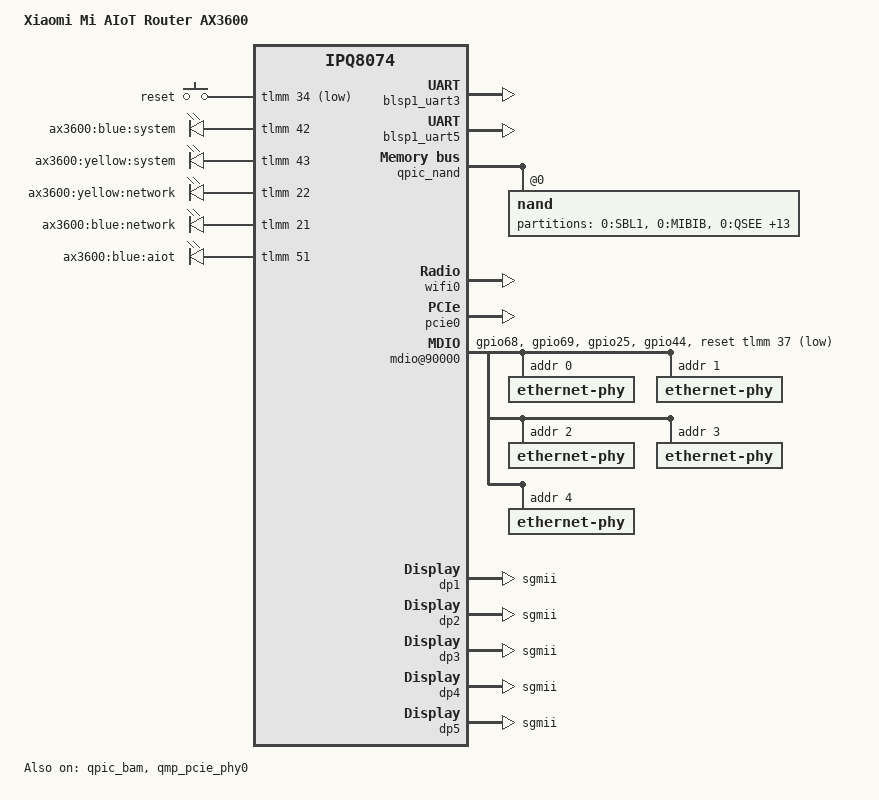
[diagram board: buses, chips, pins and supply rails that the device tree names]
// SPDX-License-Identifier: GPL-2.0-only
/dts-v1/;

#include "ipq8074.dtsi"
#include <dt-bindings/gpio/gpio.h>
#include <dt-bindings/input/input.h>

/ {
	#address-cells = <0x2>;
	#size-cells = <0x2>;
	model = "Xiaomi Mi AIoT Router AX3600";
	compatible = "xiaomi,ax3600", "qcom,ipq8074";
	interrupt-parent = <&intc>;

	aliases {
		serial0 = &blsp1_uart5;
		serial1 = &blsp1_uart3;
		led-boot = &led_system_yellow;
		led-failsafe = &led_system_yellow;
		led-running = &led_system_blue;
		led-upgrade = &led_system_yellow;
	};

	chosen {
		stdout-path = "serial0:115200n8";
		bootargs-append = " swiotlb=1 root=/dev/ubiblock0_1";
	};

	reserved-memory {
		ranges;
		#address-cells = <0x2>;
		#size-cells = <0x2>;

		tz@4ac00000 {
			reg = <0x0 0x4ac00000 0x0 0x400000>;
			no-map;
		};

		wcnss@4b000000 {
			reg = <0x0 0x4b000000 0x0 0x3700000>;
			no-map;
		};

		rsvd2@50b00000 {
			reg = <0x0 0x50b00000 0x0 0x400000>;
			no-map;
		};

		wifi_dump@50500000 {
			reg = <0x0 0x50500000 0x0 0x200000>;
			no-map;
		};

		rsvd1@50700000 {
			reg = <0x0 0x50700000 0x0 0x400000>;
			no-map;
		};

		q6_etr_dump@4e700000 {
			reg = <0x0 0x4e700000 0x0 0x100000>;
			no-map;
		};

		sbl@4aa00000 {
			reg = <0x0 0x4aa00000 0x0 0x100000>;
			no-map;
		};

		uboot@4a600000 {
			reg = <0x0 0x4a600000 0x0 0x400000>;
			no-map;
		};

		nss@40000000 {
			reg = <0x0 0x40000000 0x0 0x1000000>;
			no-map;
		};
	};

	keys {
		compatible = "gpio-keys";
		pinctrl-0 = <&button_pins>;
		pinctrl-names = "default";

		reset {
			label = "reset";
			gpios = <&tlmm 34 GPIO_ACTIVE_LOW>;
			linux,code = <KEY_RESTART>;
		};
	};

	leds {
		compatible = "gpio-leds";
		pinctrl-0 = <&led_pins>;
		pinctrl-names = "default";

		led_system_blue: system-blue {
			label = "ax3600:blue:system";
			gpios = <&tlmm 42 GPIO_ACTIVE_HIGH>;
		};

		led_system_yellow: system-yellow {
			label = "ax3600:yellow:system";
			gpios = <&tlmm 43 GPIO_ACTIVE_HIGH>;
		};

		network-yellow {
			label = "ax3600:yellow:network";
			gpios = <&tlmm 22 GPIO_ACTIVE_HIGH>;
		};

		network-blue {
			label = "ax3600:blue:network";
			gpios = <&tlmm 21 GPIO_ACTIVE_HIGH>;
		};

		aiot {
			label = "ax3600:blue:aiot";
			gpios = <&tlmm 51 GPIO_ACTIVE_HIGH>;
		};
	};
};

&blsp1_uart3 {
	status = "okay";
};

&blsp1_uart5 {
	status = "okay";
};

&qpic_bam {
	status = "okay";
};

&qpic_nand {
	status = "okay";

	nand@0 {
		reg = <0>;
		nand-ecc-strength = <4>;
		nand-ecc-step-size = <512>;
		nand-bus-width = <8>;

		partitions {
			compatible = "fixed-partitions";
			#address-cells = <1>;
			#size-cells = <1>;

			partition@0 {
				label = "0:SBL1";
				reg = <0x00000000 0x100000>;
				read-only;
			};

			partition@100000 {
				label = "0:MIBIB";
				reg = <0x00100000 0x100000>;
				read-only;
			};

			partition@200000 {
				label = "0:QSEE";
				reg = <0x00200000 0x300000>;
				read-only;
			};

			partition@500000 {
				label = "0:DEVCFG";
				reg = <0x00500000 0x80000>;
				read-only;
			};

			partition@580000 {
				label = "0:RPM";
				reg = <0x00580000 0x80000>;
				read-only;
			};

			partition@600000 {
				label = "0:CDT";
				reg = <0x00600000 0x80000>;
				read-only;
			};

			partition@680000 {
				label = "0:APPSBLENV";
				reg = <0x00680000 0x80000>;
			};

			partition@700000 {
				label = "0:APPSBL";
				reg = <0x00700000 0x100000>;
				read-only;
			};

			partition@800000 {
				label = "0:ART";
				reg = <0x00800000 0x80000>;
				read-only;
			};

			partition@880000 {
				label = "bdata";
				reg = <0x00880000 0x80000>;
				read-only;
			};

			partition@900000 {
				label = "crash";
				reg = <0x00900000 0x80000>;
				read-only;
			};

			partition@980000 {
				label = "crash_syslog";
				reg = <0x00980000 0x80000>;
				read-only;
			};

			partition@a00000 {
				label = "rootfs";
				reg = <0x00a00000 0x23c0000>;
			};

			partition@2dc0000 {
				label = "rootfs_1";
				reg = <0x02dc0000 0x23c0000>;
			};

			partition@5180000 {
				label = "overlay";
				reg = <0x05180000 0x1ec0000>;
			};

			partition@7040000 {
				label = "rsvd0";
				reg = <0x07040000 0x80000>;
			};
		};
	};
};

&wifi0 {
	status = "okay";
};

&qmp_pcie_phy0 {
	status = "okay";
};

&pcie0 {
	status = "okay";
	perst-gpio = <&tlmm 52 GPIO_ACTIVE_HIGH>;
};

&tlmm {
	button_pins: button-pins {
		pins = "gpio34";
		function = "gpio";
		bias-pull-up;
		drive-strength = <8>;
	};

	led_pins: led-pins {
		pins = "gpio21", "gpio22", "gpio42", "gpio43", "gpio51";
		function = "gpio";
		bias-pull-down;
		drive-strength = <8>;
	};

	mdio_pins: mdio_pinmux {
		mux_0 {
			pins = "gpio68";
			function = "mdc";
			drive-strength = <8>;
			bias-pull-up;
		};

		mux_1 {
			pins = "gpio69";
			function = "mdio";
			drive-strength = <8>;
			bias-pull-up;
		};

		mux_2 {
			pins = "gpio25";
			function = "gpio";
			bias-pull-up;
		};

		mux_3 {
			pins = "gpio44";
			function = "gpio";
			bias-pull-up;
		};
	};
};

&soc {
	mdio@90000 {
		pinctrl-0 = <&mdio_pins>;
		pinctrl-names = "default";
		reset-gpios = <&tlmm 37 GPIO_ACTIVE_LOW>;
		reset-delay-us = <1000>;
		#address-cells = <1>;
		#size-cells = <1>;
		compatible = "qcom,ipq40xx-mdio";
		reg = <0x90000 0x64>;

		ethernet-phy@0 {
			reg = <0>;
		};

		ethernet-phy@1 {
			reg = <1>;
		};

		ethernet-phy@2 {
			reg = <2>;
		};

		ethernet-phy@3 {
			reg = <3>;
		};

		ethernet-phy@4 {
			reg = <4>;
		};
	};

	ess-switch@3a000000 {
		compatible = "qcom,ess-switch-ipq807x";
		reg = <0x3a000000 0x1000000>;
		switch_access_mode = "local bus";
		switch_cpu_bmp = <0x1>;  /* cpu port bitmap */
		switch_lan_bmp = <0x1e>; /* lan port bitmap */
		switch_wan_bmp = <0x20>; /* wan port bitmap */
		switch_mac_mode = <0x0>; /* mac mode for uniphy instance0*/
		switch_mac_mode1 = <0xff>; /* mac mode for uniphy instance1*/
		switch_mac_mode2 = <0xff>; /* mac mode for uniphy instance2*/
		bm_tick_mode = <0>; /* bm tick mode */
		tm_tick_mode = <0>; /* tm tick mode */
		clocks = <&gcc GCC_CMN_12GPLL_AHB_CLK>,
				<&gcc GCC_CMN_12GPLL_SYS_CLK>,
				<&gcc GCC_UNIPHY0_AHB_CLK>,
				<&gcc GCC_UNIPHY0_SYS_CLK>,
				<&gcc GCC_UNIPHY1_AHB_CLK>,
				<&gcc GCC_UNIPHY1_SYS_CLK>,
				<&gcc GCC_UNIPHY2_AHB_CLK>,
				<&gcc GCC_UNIPHY2_SYS_CLK>,
				<&gcc GCC_PORT1_MAC_CLK>,
				<&gcc GCC_PORT2_MAC_CLK>,
				<&gcc GCC_PORT3_MAC_CLK>,
				<&gcc GCC_PORT4_MAC_CLK>,
				<&gcc GCC_PORT5_MAC_CLK>,
				<&gcc GCC_PORT6_MAC_CLK>,
				<&gcc GCC_NSS_PPE_CLK>,
				<&gcc GCC_NSS_PPE_CFG_CLK>,
				<&gcc GCC_NSSNOC_PPE_CLK>,
				<&gcc GCC_NSSNOC_PPE_CFG_CLK>,
				<&gcc GCC_NSS_EDMA_CLK>,
				<&gcc GCC_NSS_EDMA_CFG_CLK>,
				<&gcc GCC_NSS_PPE_IPE_CLK>,
				<&gcc GCC_NSS_PPE_BTQ_CLK>,
				<&gcc GCC_MDIO_AHB_CLK>,
				<&gcc GCC_NSS_NOC_CLK>,
				<&gcc GCC_NSSNOC_SNOC_CLK>,
				<&gcc GCC_MEM_NOC_NSS_AXI_CLK>,
				<&gcc GCC_NSS_CRYPTO_CLK>,
				<&gcc GCC_NSS_IMEM_CLK>,
				<&gcc GCC_NSS_PTP_REF_CLK>,
				<&gcc GCC_NSS_PORT1_RX_CLK>,
				<&gcc GCC_NSS_PORT1_TX_CLK>,
				<&gcc GCC_NSS_PORT2_RX_CLK>,
				<&gcc GCC_NSS_PORT2_TX_CLK>,
				<&gcc GCC_NSS_PORT3_RX_CLK>,
				<&gcc GCC_NSS_PORT3_TX_CLK>,
				<&gcc GCC_NSS_PORT4_RX_CLK>,
				<&gcc GCC_NSS_PORT4_TX_CLK>,
				<&gcc GCC_NSS_PORT5_RX_CLK>,
				<&gcc GCC_NSS_PORT5_TX_CLK>,
				<&gcc GCC_NSS_PORT6_RX_CLK>,
				<&gcc GCC_NSS_PORT6_TX_CLK>,
				<&gcc GCC_UNIPHY0_PORT1_RX_CLK>,
				<&gcc GCC_UNIPHY0_PORT1_TX_CLK>,
				<&gcc GCC_UNIPHY0_PORT2_RX_CLK>,
				<&gcc GCC_UNIPHY0_PORT2_TX_CLK>,
				<&gcc GCC_UNIPHY0_PORT3_RX_CLK>,
				<&gcc GCC_UNIPHY0_PORT3_TX_CLK>,
				<&gcc GCC_UNIPHY0_PORT4_RX_CLK>,
				<&gcc GCC_UNIPHY0_PORT4_TX_CLK>,
				<&gcc GCC_UNIPHY0_PORT5_RX_CLK>,
				<&gcc GCC_UNIPHY0_PORT5_TX_CLK>,
				<&gcc GCC_UNIPHY1_PORT5_RX_CLK>,
				<&gcc GCC_UNIPHY1_PORT5_TX_CLK>,
				<&gcc GCC_UNIPHY2_PORT6_RX_CLK>,
				<&gcc GCC_UNIPHY2_PORT6_TX_CLK>,
				<&gcc NSS_PORT5_RX_CLK_SRC>,
				<&gcc NSS_PORT5_TX_CLK_SRC>;
		clock-names = "cmn_ahb_clk", "cmn_sys_clk",
					"uniphy0_ahb_clk", "uniphy0_sys_clk",
					"uniphy1_ahb_clk", "uniphy1_sys_clk",
					"uniphy2_ahb_clk", "uniphy2_sys_clk",
					"port1_mac_clk", "port2_mac_clk",
					"port3_mac_clk", "port4_mac_clk",
					"port5_mac_clk", "port6_mac_clk",
					"nss_ppe_clk", "nss_ppe_cfg_clk",
					"nssnoc_ppe_clk", "nssnoc_ppe_cfg_clk",
					"nss_edma_clk", "nss_edma_cfg_clk",
					"nss_ppe_ipe_clk", "nss_ppe_btq_clk",
					"gcc_mdio_ahb_clk", "gcc_nss_noc_clk",
					"gcc_nssnoc_snoc_clk",
					"gcc_mem_noc_nss_axi_clk",
					"gcc_nss_crypto_clk",
					"gcc_nss_imem_clk",
					"gcc_nss_ptp_ref_clk",
					"nss_port1_rx_clk", "nss_port1_tx_clk",
					"nss_port2_rx_clk", "nss_port2_tx_clk",
					"nss_port3_rx_clk", "nss_port3_tx_clk",
					"nss_port4_rx_clk", "nss_port4_tx_clk",
					"nss_port5_rx_clk", "nss_port5_tx_clk",
					"nss_port6_rx_clk", "nss_port6_tx_clk",
					"uniphy0_port1_rx_clk",
					"uniphy0_port1_tx_clk",
					"uniphy0_port2_rx_clk",
					"uniphy0_port2_tx_clk",
					"uniphy0_port3_rx_clk",
					"uniphy0_port3_tx_clk",
					"uniphy0_port4_rx_clk",
					"uniphy0_port4_tx_clk",
					"uniphy0_port5_rx_clk",
					"uniphy0_port5_tx_clk",
					"uniphy1_port5_rx_clk",
					"uniphy1_port5_tx_clk",
					"uniphy2_port6_rx_clk",
					"uniphy2_port6_tx_clk",
					"nss_port5_rx_clk_src",
					"nss_port5_tx_clk_src";

		resets = <&gcc GCC_PPE_FULL_RESET>,
				 <&gcc GCC_UNIPHY0_SOFT_RESET>,
				 <&gcc GCC_UNIPHY0_XPCS_RESET>,
				 <&gcc GCC_UNIPHY1_SOFT_RESET>,
				 <&gcc GCC_UNIPHY1_XPCS_RESET>,
				 <&gcc GCC_UNIPHY2_SOFT_RESET>,
				 <&gcc GCC_UNIPHY2_XPCS_RESET>,
				 <&gcc GCC_NSSPORT1_RESET>,
				 <&gcc GCC_NSSPORT2_RESET>,
				 <&gcc GCC_NSSPORT3_RESET>,
				 <&gcc GCC_NSSPORT4_RESET>,
				 <&gcc GCC_NSSPORT5_RESET>,
				 <&gcc GCC_NSSPORT6_RESET>;

		reset-names = "ppe_rst", "uniphy0_soft_rst",
					"uniphy0_xpcs_rst", "uniphy1_soft_rst",
					"uniphy1_xpcs_rst", "uniphy2_soft_rst",
					"uniphy2_xpcs_rst", "nss_port1_rst",
					"nss_port2_rst", "nss_port3_rst",
					"nss_port4_rst", "nss_port5_rst",
					"nss_port6_rst";

		qcom,port_phyinfo {
			port@0 {
				port_id = <1>;
				phy_address = <0>;
			};

			port@1 {
				port_id = <2>;
				phy_address = <1>;
			};

			port@2 {
				port_id = <3>;
				phy_address = <2>;
			};

			port@3 {
				port_id = <4>;
				phy_address = <3>;
			};

			port@4 {
				port_id = <5>;
				phy_address = <4>;
			};
		};

		port_scheduler_resource {
			port@0 {
				port_id = <0>;
				ucast_queue = <0 143>;
				mcast_queue = <256 271>;
				l0sp = <0 35>;
				l0cdrr = <0 47>;
				l0edrr = <0 47>;
				l1cdrr = <0 7>;
				l1edrr = <0 7>;
			};

			port@1 {
				port_id = <1>;
				ucast_queue = <144 159>;
				mcast_queue = <272 275>;
				l0sp = <36 39>;
				l0cdrr = <48 63>;
				l0edrr = <48 63>;
				l1cdrr = <8 11>;
				l1edrr = <8 11>;
			};

			port@2 {
				port_id = <2>;
				ucast_queue = <160 175>;
				mcast_queue = <276 279>;
				l0sp = <40 43>;
				l0cdrr = <64 79>;
				l0edrr = <64 79>;
				l1cdrr = <12 15>;
				l1edrr = <12 15>;
			};

			port@3 {
				port_id = <3>;
				ucast_queue = <176 191>;
				mcast_queue = <280 283>;
				l0sp = <44 47>;
				l0cdrr = <80 95>;
				l0edrr = <80 95>;
				l1cdrr = <16 19>;
				l1edrr = <16 19>;
			};

			port@4 {
				port_id = <4>;
				ucast_queue = <192 207>;
				mcast_queue = <284 287>;
				l0sp = <48 51>;
				l0cdrr = <96 111>;
				l0edrr = <96 111>;
				l1cdrr = <20 23>;
				l1edrr = <20 23>;
			};

			port@5 {
				port_id = <5>;
				ucast_queue = <208 223>;
				mcast_queue = <288 291>;
				l0sp = <52 55>;
				l0cdrr = <112 127>;
				l0edrr = <112 127>;
				l1cdrr = <24 27>;
				l1edrr = <24 27>;
			};

			port@6 {
				port_id = <6>;
				ucast_queue = <224 239>;
				mcast_queue = <292 295>;
				l0sp = <56 59>;
				l0cdrr = <128 143>;
				l0edrr = <128 143>;
				l1cdrr = <28 31>;
				l1edrr = <28 31>;
			};

			port@7 {
				port_id = <7>;
				ucast_queue = <240 255>;
				mcast_queue = <296 299>;
				l0sp = <60 63>;
				l0cdrr = <144 159>;
				l0edrr = <144 159>;
				l1cdrr = <32 35>;
				l1edrr = <32 35>;
			};
		};

		port_scheduler_config {
			port@0 {
				port_id = <0>;

				l1scheduler {
					group@0 {
						sp = <0 1>; /*L0 SPs*/
						/*cpri cdrr epri edrr*/
						cfg = <0 0 0 0>;
					};
				};

				l0scheduler {
					group@0 {
						/*unicast queues*/
						ucast_queue = <0 4 8>;
						/*multicast queues*/
						mcast_queue = <256 260>;
						/*sp cpri cdrr epri edrr*/
						cfg = <0 0 0 0 0>;
					};

					group@1 {
						ucast_queue = <1 5 9>;
						mcast_queue = <257 261>;
						cfg = <0 1 1 1 1>;
					};

					group@2 {
						ucast_queue = <2 6 10>;
						mcast_queue = <258 262>;
						cfg = <0 2 2 2 2>;
					};

					group@3 {
						ucast_queue = <3 7 11>;
						mcast_queue = <259 263>;
						cfg = <0 3 3 3 3>;
					};
				};
			};

			port@1 {
				port_id = <1>;

				l1scheduler {
					group@0 {
						sp = <36>;
						cfg = <0 8 0 8>;
					};

					group@1 {
						sp = <37>;
						cfg = <1 9 1 9>;
					};
				};

				l0scheduler {
					group@0 {
						ucast_queue = <144>;
						ucast_loop_pri = <16>;
						mcast_queue = <272>;
						mcast_loop_pri = <4>;
						cfg = <36 0 48 0 48>;
					};
				};
			};

			port@2 {
				port_id = <2>;

				l1scheduler {
					group@0 {
						sp = <40>;
						cfg = <0 12 0 12>;
					};

					group@1 {
						sp = <41>;
						cfg = <1 13 1 13>;
					};
				};

				l0scheduler {
					group@0 {
						ucast_queue = <160>;
						ucast_loop_pri = <16>;
						mcast_queue = <276>;
						mcast_loop_pri = <4>;
						cfg = <40 0 64 0 64>;
					};
				};
			};

			port@3 {
				port_id = <3>;

				l1scheduler {
					group@0 {
						sp = <44>;
						cfg = <0 16 0 16>;
					};

					group@1 {
						sp = <45>;
						cfg = <1 17 1 17>;
					};
				};

				l0scheduler {
					group@0 {
						ucast_queue = <176>;
						ucast_loop_pri = <16>;
						mcast_queue = <280>;
						mcast_loop_pri = <4>;
						cfg = <44 0 80 0 80>;
					};
				};
			};

			port@4 {
				port_id = <4>;

				l1scheduler {
					group@0 {
						sp = <48>;
						cfg = <0 20 0 20>;
					};

					group@1 {
						sp = <49>;
						cfg = <1 21 1 21>;
					};
				};

				l0scheduler {
					group@0 {
						ucast_queue = <192>;
						ucast_loop_pri = <16>;
						mcast_queue = <284>;
						mcast_loop_pri = <4>;
						cfg = <48 0 96 0 96>;
					};
				};
			};

			port@5 {
				port_id = <5>;

				l1scheduler {
					group@0 {
						sp = <52>;
						cfg = <0 24 0 24>;
					};

					group@1 {
						sp = <53>;
						cfg = <1 25 1 25>;
					};
				};

				l0scheduler {
					group@0 {
						ucast_queue = <208>;
						ucast_loop_pri = <16>;
						mcast_queue = <288>;
						mcast_loop_pri = <4>;
						cfg = <52 0 112 0 112>;
					};
				};
			};

			port@6 {
				port_id = <6>;

				l1scheduler {
					group@0 {
						sp = <56>;
						cfg = <0 28 0 28>;
					};

					group@1 {
						sp = <57>;
						cfg = <1 29 1 29>;
					};
				};

				l0scheduler {
					group@0 {
						ucast_queue = <224>;
						ucast_loop_pri = <16>;
						mcast_queue = <292>;
						mcast_loop_pri = <4>;
						cfg = <56 0 128 0 128>;
					};
				};
			};

			port@7 {
				port_id = <7>;

				l1scheduler {
					group@0 {
						sp = <60>;
						cfg = <0 32 0 32>;
					};
				};

				l0scheduler {
					group@0 {
						ucast_queue = <240>;
						mcast_queue = <296>;
						cfg = <60 0 144 0 144>;
					};
				};
			};
		};
	};

	ess-uniphy@7a00000 {
		compatible = "qcom,ess-uniphy";
		reg = <0x7a00000 0x30000>;
		uniphy_access_mode = "local bus";
	};

	edma@3ab00000 {
		compatible = "qcom,edma";
		reg = <0x3ab00000 0x76900>;
		reg-names = "edma-reg-base";
		qcom,txdesc-ring-start = <23>;
		qcom,txdesc-rings = <1>;
		qcom,txcmpl-ring-start = <7>;
		qcom,txcmpl-rings = <1>;
		qcom,rxfill-ring-start = <7>;
		qcom,rxfill-rings = <1>;
		qcom,rxdesc-ring-start = <15>;
		qcom,rxdesc-rings = <1>;
		interrupts = <0 345 4>,
					<0 353 4>,
					<0 361 4>,
					<0 344 4>;
		resets = <&gcc GCC_EDMA_HW_RESET>;
		reset-names = "edma_rst";
		clocks = <&gcc GCC_CMN_12GPLL_AHB_CLK>,
					<&gcc GCC_CMN_12GPLL_SYS_CLK>,
					<&gcc GCC_UNIPHY0_AHB_CLK>,
					<&gcc GCC_UNIPHY0_SYS_CLK>,
					<&gcc GCC_UNIPHY1_AHB_CLK>,
					<&gcc GCC_UNIPHY1_SYS_CLK>,
					<&gcc GCC_UNIPHY2_AHB_CLK>,
					<&gcc GCC_UNIPHY2_SYS_CLK>,
					<&gcc GCC_PORT1_MAC_CLK>,
					<&gcc GCC_PORT2_MAC_CLK>,
					<&gcc GCC_PORT3_MAC_CLK>,
					<&gcc GCC_PORT4_MAC_CLK>,
					<&gcc GCC_PORT5_MAC_CLK>,
					<&gcc GCC_PORT6_MAC_CLK>,
					<&gcc GCC_NSS_PPE_CLK>,
					<&gcc GCC_NSS_PPE_CFG_CLK>,
					<&gcc GCC_NSSNOC_PPE_CLK>,
					<&gcc GCC_NSSNOC_PPE_CFG_CLK>,
					<&gcc GCC_NSS_EDMA_CLK>,
					<&gcc GCC_NSS_EDMA_CFG_CLK>,
					<&gcc GCC_NSS_PPE_IPE_CLK>,
					<&gcc GCC_NSS_PPE_BTQ_CLK>,
					<&gcc GCC_MDIO_AHB_CLK>,
					<&gcc GCC_NSS_NOC_CLK>,
					<&gcc GCC_NSSNOC_SNOC_CLK>,
					<&gcc GCC_MEM_NOC_NSS_AXI_CLK>,
					<&gcc GCC_NSS_CRYPTO_CLK>,
					<&gcc GCC_NSS_IMEM_CLK>,
					<&gcc GCC_NSS_PTP_REF_CLK>,
					<&gcc GCC_NSS_PORT1_RX_CLK>,
					<&gcc GCC_NSS_PORT1_TX_CLK>,
					<&gcc GCC_NSS_PORT2_RX_CLK>,
					<&gcc GCC_NSS_PORT2_TX_CLK>,
					<&gcc GCC_NSS_PORT3_RX_CLK>,
					<&gcc GCC_NSS_PORT3_TX_CLK>,
					<&gcc GCC_NSS_PORT4_RX_CLK>,
					<&gcc GCC_NSS_PORT4_TX_CLK>,
					<&gcc GCC_NSS_PORT5_RX_CLK>,
					<&gcc GCC_NSS_PORT5_TX_CLK>,
					<&gcc GCC_NSS_PORT6_RX_CLK>,
					<&gcc GCC_NSS_PORT6_TX_CLK>,
					<&gcc GCC_UNIPHY0_PORT1_RX_CLK>,
					<&gcc GCC_UNIPHY0_PORT1_TX_CLK>,
					<&gcc GCC_UNIPHY0_PORT2_RX_CLK>,
					<&gcc GCC_UNIPHY0_PORT2_TX_CLK>,
					<&gcc GCC_UNIPHY0_PORT3_RX_CLK>,
					<&gcc GCC_UNIPHY0_PORT3_TX_CLK>,
					<&gcc GCC_UNIPHY0_PORT4_RX_CLK>,
					<&gcc GCC_UNIPHY0_PORT4_TX_CLK>,
					<&gcc GCC_UNIPHY0_PORT5_RX_CLK>,
					<&gcc GCC_UNIPHY0_PORT5_TX_CLK>,
					<&gcc GCC_UNIPHY1_PORT5_RX_CLK>,
					<&gcc GCC_UNIPHY1_PORT5_TX_CLK>,
					<&gcc GCC_UNIPHY2_PORT6_RX_CLK>,
					<&gcc GCC_UNIPHY2_PORT6_TX_CLK>,
					<&gcc NSS_PORT5_RX_CLK_SRC>,
					<&gcc NSS_PORT5_TX_CLK_SRC>;
		clock-names = "cmn_ahb_clk", "cmn_sys_clk",
					"uniphy0_ahb_clk", "uniphy0_sys_clk",
					"uniphy1_ahb_clk", "uniphy1_sys_clk",
					"uniphy2_ahb_clk", "uniphy2_sys_clk",
					"port1_mac_clk", "port2_mac_clk",
					"port3_mac_clk", "port4_mac_clk",
					"port5_mac_clk", "port6_mac_clk",
					"nss_ppe_clk", "nss_ppe_cfg_clk",
					"nssnoc_ppe_clk", "nssnoc_ppe_cfg_clk",
					"nss_edma_clk", "nss_edma_cfg_clk",
					"nss_ppe_ipe_clk", "nss_ppe_btq_clk",
					"gcc_mdio_ahb_clk", "gcc_nss_noc_clk",
					"gcc_nssnoc_snoc_clk",
					"gcc_mem_noc_nss_axi_clk",
					"gcc_nss_crypto_clk",
					"gcc_nss_imem_clk",
					"gcc_nss_ptp_ref_clk",
					"nss_port1_rx_clk", "nss_port1_tx_clk",
					"nss_port2_rx_clk", "nss_port2_tx_clk",
					"nss_port3_rx_clk", "nss_port3_tx_clk",
					"nss_port4_rx_clk", "nss_port4_tx_clk",
					"nss_port5_rx_clk", "nss_port5_tx_clk",
					"nss_port6_rx_clk", "nss_port6_tx_clk",
					"uniphy0_port1_rx_clk",
					"uniphy0_port1_tx_clk",
					"uniphy0_port2_rx_clk",
					"uniphy0_port2_tx_clk",
					"uniphy0_port3_rx_clk",
					"uniphy0_port3_tx_clk",
					"uniphy0_port4_rx_clk",
					"uniphy0_port4_tx_clk",
					"uniphy0_port5_rx_clk",
					"uniphy0_port5_tx_clk",
					"uniphy1_port5_rx_clk",
					"uniphy1_port5_tx_clk",
					"uniphy2_port6_rx_clk",
					"uniphy2_port6_tx_clk",
					"nss_port5_rx_clk_src",
					"nss_port5_tx_clk_src";
	};

	dp1 {
		device_type = "network";
		compatible = "qcom,nss-dp";
		qcom,id = <1>;
		reg = <0x3a001000 0x200>;
		qcom,mactype = <0>;
		local-mac-address = [000000000000];
		qcom,phy-mdio-addr = <0>;
		phy-mode = "sgmii";
	};

	dp2 {
		device_type = "network";
		compatible = "qcom,nss-dp";
		qcom,id = <2>;
		reg = <0x3a001200 0x200>;
		qcom,mactype = <0>;
		local-mac-address = [000000000000];
		qcom,link-poll = <1>;
		qcom,phy-mdio-addr = <1>;
		phy-mode = "sgmii";
	};

	dp3 {
		device_type = "network";
		compatible = "qcom,nss-dp";
		qcom,id = <3>;
		reg = <0x3a001400 0x200>;
		qcom,mactype = <0>;
		local-mac-address = [000000000000];
		qcom,link-poll = <1>;
		qcom,phy-mdio-addr = <2>;
		phy-mode = "sgmii";
	};

	dp4 {
		device_type = "network";
		compatible = "qcom,nss-dp";
		qcom,id = <4>;
		reg = <0x3a001600 0x200>;
		qcom,mactype = <0>;
		local-mac-address = [000000000000];
		qcom,link-poll = <1>;
		qcom,phy-mdio-addr = <3>;
		phy-mode = "sgmii";
	};

	dp5 {
		device_type = "network";
		compatible = "qcom,nss-dp";
		qcom,id = <5>;
		reg = <0x3a001800 0x200>;
		qcom,mactype = <0>;
		local-mac-address = [000000000000];
		qcom,link-poll = <1>;
		qcom,phy-mdio-addr = <4>;
		phy-mode = "sgmii";
	};
};
